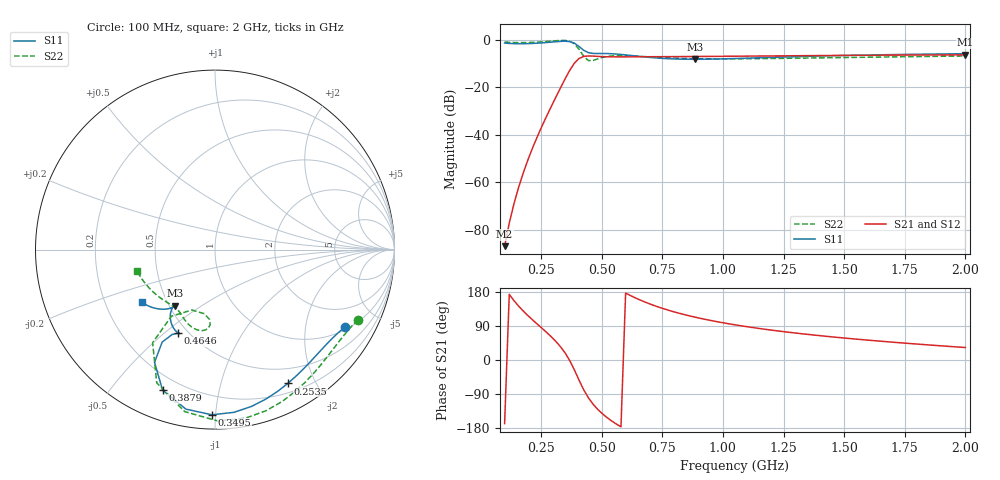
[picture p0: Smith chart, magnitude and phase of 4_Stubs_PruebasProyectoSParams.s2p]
! Created Sat Nov 25 14:40:42 2023
# hz S ri R 50
! 2 Port Network Data from SP1.SP block
! freq  reS11  imS11  reS21  imS21  reS12  imS12  reS22  imS22
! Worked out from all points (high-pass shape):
!   100 points, 100 MHz to 2 GHz, reference 50 ohm
!   highest |S21| = -6.44 dB at 2 GHz (marker M1); lowest = -86.9 dB at 100 MHz (marker M2)
!   |S21| within 3 dB of the highest: 392.7 MHz to end of sweep
!   lowest |S11| = -8.3 dB at 886.9 MHz (marker M3), VSWR 2.25, Z = 26.7 - j19.5 ohm
!   |S11| at or under -10 dB: nowhere
!   |S22| runs from -8.9 to -0.4 dB; largest |S21 - S12| = 1.1e-15
!   S11 on the Smith chart (normalised r, x): 100 MHz: 1.11, -3.31; 253.5 MHz: 0.31, -1.64; 349.5 MHz: 0.08, -0.98; 387.9 MHz: 0.13, -0.69; 464.6 MHz: 0.44, -0.56; 2 GHz: 0.36, -0.28
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1e8  0.7256 -0.4292  -4.4e-05 -9.49e-06  -4.4e-05 -9.49e-06  0.796 -0.3897
1.191919e8  0.6831 -0.4663  -0.000137 1.63e-05  -0.000137 1.63e-05  0.7588 -0.4302
1.383838e8  0.6452 -0.5027  -0.00032 0.000137  -0.00032 0.000137  0.725 -0.4695
1.767677e8  0.5739 -0.5786  -0.000985 0.0012  -0.000985 0.0012  0.661 -0.5508
2.535354e8  0.4053 -0.7459  0.00152 0.0148  0.00152 0.0148  0.5027 -0.7389
3.111111e8  0.2037 -0.8736  0.0399 0.0462  0.0399 0.0462  0.285 -0.8974
3.494949e8  -0.0175 -0.9202  0.1411 0.0474  0.1411 0.0474  0.0146 -0.9545
3.686869e8  -0.1623 -0.8888  0.2252 -0.00678  0.2252 -0.00678  -0.1689 -0.9027
3.878788e8  -0.2922 -0.7827  0.2856 -0.1414  0.2856 -0.1414  -0.3246 -0.7422
4.070707e8  -0.3368 -0.6279  0.2381 -0.321  0.2381 -0.321  -0.3475 -0.5188
4.262626e8  -0.2942 -0.515  0.086 -0.4328  0.086 -0.4328  -0.2434 -0.3714
4.454545e8  -0.2378 -0.4725  -0.0761 -0.4443  -0.0761 -0.4443  -0.1285 -0.3365
4.646465e8  -0.2058 -0.4659  -0.1995 -0.4004  -0.1995 -0.4004  -0.0589 -0.3574
5.030303e8  -0.2005 -0.4666  -0.3431 -0.2703  -0.3431 -0.2703  -0.0269 -0.4181
5.606061e8  -0.2312 -0.4369  -0.4233 -0.0824  -0.4233 -0.0824  -0.0711 -0.4514
6.373737e8  -0.2492 -0.377  -0.4164 0.1161  -0.4164 0.1161  -0.1335 -0.4286
7.333333e8  -0.2393 -0.3284  -0.3332 0.2795  -0.3332 0.2795  -0.1741 -0.3831
8.868687e8  -0.224 -0.3115  -0.1703 0.4047  -0.1703 0.4047  -0.2065 -0.3371
1.059596e9  -0.2367 -0.3218  -0.0141 0.4452  -0.0141 0.4452  -0.2425 -0.3088
1.366667e9  -0.2957 -0.332  0.1831 0.42  0.1831 0.42  -0.3148 -0.261
1.692929e9  -0.3604 -0.3182  0.3177 0.3455  0.3177 0.3455  -0.3837 -0.1943
2e9  -0.408 -0.2922  0.4 0.2586  0.4 0.2586  -0.4348 -0.1177
